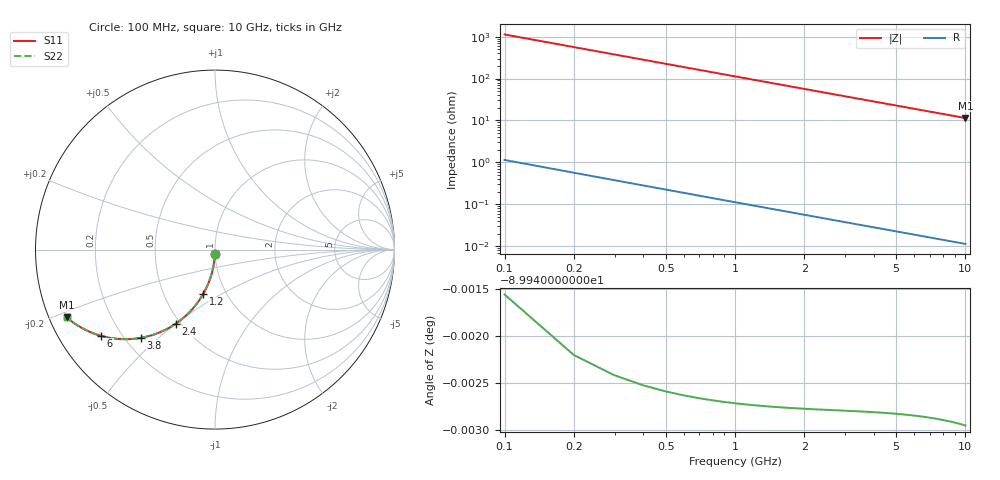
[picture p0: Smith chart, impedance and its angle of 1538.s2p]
# Hz S RI R 50.00
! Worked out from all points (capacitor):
!   100 points, 100 MHz to 10 GHz, reference 50 ohm
!   read as one part in shunt: C = 1.41 pF near 100 MHz
!   lowest |Z| = 11.4 ohm at 10 GHz (marker M1)
!   S11 on the Smith chart (normalised r, x): 100 MHz: 1.00, -0.04; 1.2 GHz: 0.78, -0.41; 2.4 GHz: 0.47, -0.50; 3.8 GHz: 0.26, -0.44; 6 GHz: 0.13, -0.33; 10 GHz: 0.05, -0.22
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1e8  -0.000515 -0.0222  0.9995 -0.0222  0.9995 -0.0222  -0.000515 -0.0222
2e8  -0.00201 -0.0443  0.998 -0.0444  0.998 -0.0444  -0.00201 -0.0443
3e8  -0.00449 -0.0663  0.9955 -0.0664  0.9955 -0.0664  -0.00449 -0.0663
4e8  -0.00792 -0.0881  0.9921 -0.0882  0.9921 -0.0882  -0.00792 -0.0881
5e8  -0.0123 -0.1096  0.9877 -0.1097  0.9877 -0.1097  -0.0123 -0.1096
6e8  -0.0176 -0.1308  0.9824 -0.1309  0.9824 -0.1309  -0.0176 -0.1308
7e8  -0.0237 -0.1516  0.9763 -0.1517  0.9763 -0.1517  -0.0237 -0.1516
9e8  -0.0385 -0.1918  0.9615 -0.192  0.9615 -0.192  -0.0385 -0.1918
1.2e9  -0.0663 -0.2481  0.9337 -0.2484  0.9337 -0.2484  -0.0663 -0.2481
1.5e9  -0.0996 -0.2988  0.9004 -0.2991  0.9004 -0.2991  -0.0996 -0.2988
1.8e9  -0.1371 -0.3433  0.8629 -0.3436  0.8629 -0.3436  -0.1371 -0.3433
2.1e9  -0.1775 -0.3814  0.8225 -0.3818  0.8225 -0.3818  -0.1775 -0.3814
2.4e9  -0.2195 -0.4132  0.7805 -0.4136  0.7805 -0.4136  -0.2195 -0.4132
2.9e9  -0.2905 -0.4532  0.7095 -0.4537  0.7095 -0.4537  -0.2905 -0.4532
3.4e9  -0.3595 -0.479  0.6405 -0.4797  0.6405 -0.4797  -0.3595 -0.479
3.8e9  -0.4117 -0.4913  0.5883 -0.492  0.5883 -0.492  -0.4117 -0.4913
4.4e9  -0.4834 -0.4988  0.5166 -0.4996  0.5166 -0.4996  -0.4834 -0.4988
5.1e9  -0.5564 -0.4958  0.4436 -0.4968  0.4436 -0.4968  -0.5564 -0.4958
6e9  -0.6339 -0.4807  0.3661 -0.4818  0.3661 -0.4818  -0.6339 -0.4807
6.7e9  -0.6831 -0.4641  0.3169 -0.4654  0.3169 -0.4654  -0.6831 -0.4641
8.4e9  -0.7716 -0.4185  0.2284 -0.4201  0.2284 -0.4201  -0.7716 -0.4185
1e10  -0.827 -0.3769  0.173 -0.3787  0.173 -0.3787  -0.827 -0.3769
